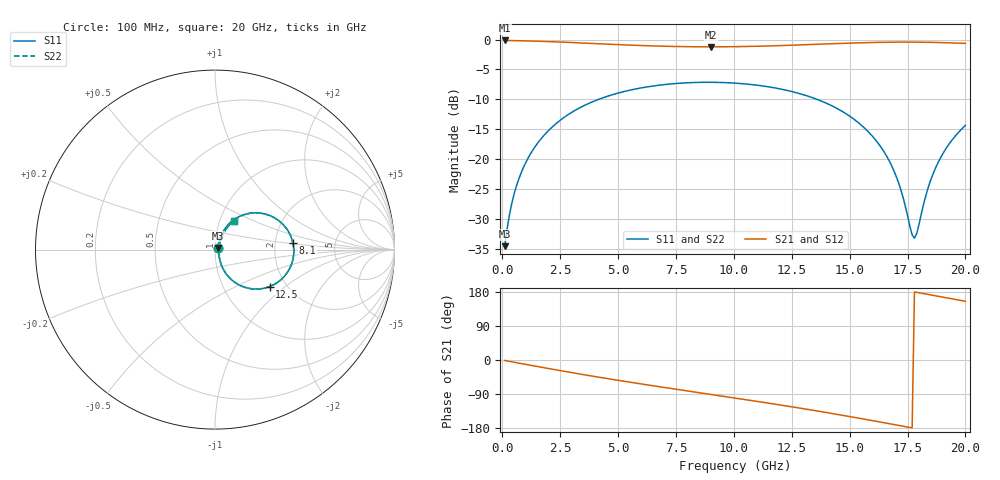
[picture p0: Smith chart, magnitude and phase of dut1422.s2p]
! Touchstone file exported from HFSS 2026.1.0
!  File:  C:/ffzhzh/LocalFiles/Ansys_Project_Files/temp_train_TSV_RDL_1422_1783354696_48288.aedt
!  Generated:  12:28:03 AM Jul  7, 2026
!  Design:  TSV_RDL
!  Project:  temp_train_TSV_RDL_1422_1783354696_48288
! Variables:
!  h_bsmrdl = 5.44um
!  h_ox = 20um
!  h_rdl = 5um
!  h_sub = 96.82um
!  h_tmrdl = 2.33um
!  h_tsv = 96.82um
!  h_via = 3um
!  l_bsmrdl = 618.58um
!  l_sub = 3010.04um
!  l_tmrdl = 161.02um
!  m_sub = 200um
!  pitch = 40um
!  r_tsv = 11.44um
!  s_tmrdl = 10um
!  w_bsmrdl = 11.54um
!  w_sub = 500um
!  w_tmrdl = 25.2um
!  x_tsv_center1 = 173.62um
!  x_tsv_center2 = 803.74um
!  x_tsv_center3 = 989.96um
!  x_tsv_center4 = 1620.08um
!  x_tsv_center5 = 1806.3um
!  x_tsv_center6 = 2436.42um
# GHz S MA R 50.000000
! Terminal data exported
! Port[1] = TM_RDL1_1_T1
! Port[2] = TM_RDL5_1_T1
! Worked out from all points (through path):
!   200 points, 100 MHz to 20 GHz, reference 50 ohm
!   highest |S21| = -0.14 dB at 100 MHz (marker M1); lowest = -1.2 dB at 9 GHz (marker M2)
!   group delay of S21, straight-line fit = 27.6 ps
!   lowest |S11| = -34.6 dB at 100 MHz (marker M3), VSWR 1.04, Z = 51.6 + j0.976 ohm
!   |S11| at or under -10 dB: start of sweep to 4.164 GHz; 13.59 GHz to end of sweep
!   |S22| runs from -34.6 to -7.1 dB; largest |S21 - S12| = 4.7e-14
!   S11 on the Smith chart (normalised r, x): 100 MHz: 1.03, +0.02; 8.1 GHz: 2.52, +0.22; 12.5 GHz: 1.64, -0.78; 20 GHz: 1.16, +0.39
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0.1  0.01861 30.5  0.9841 -1.2  0.9841 -1.2  0.01861 30.5
! Gamma 0 0 0 0
! Port Impedance 50 0 50 0
0.3  0.03329 56.1  0.9828 -3.5  0.9828 -3.5  0.03329 56.1
0.5  0.05007 63.2  0.981 -5.8  0.981 -5.8  0.05007 63.2
1.2  0.1089 65.7  0.974 -13.7  0.974 -13.7  0.1089 65.7
2.2  0.1887 58.6  0.96 -24.8  0.96 -24.8  0.1887 58.6
3.5  0.2782 46.5  0.9362 -38.6  0.9362 -38.6  0.2782 46.5
5.1  0.3609 31.5  0.9062 -54.6  0.9062 -54.6  0.3609 31.5
6.8  0.4158 16.1  0.8821 -70.7  0.8821 -70.7  0.4157 16.1
8.1  0.4359 4.7  0.8721 -82.6  0.8721 -82.6  0.4359 4.7
9  0.4392 -3.1  0.8701 -90.8  0.8701 -90.8  0.4392 -3.1
10.1  0.4314 -12.7  0.8732 -100.8  0.8732 -100.8  0.4314 -12.7
12.5  0.3676 -34.1  0.8977 -123.5  0.8977 -123.5  0.3676 -34.1
13.4  0.3261 -42.3  0.9111 -132.5  0.9111 -132.5  0.3261 -42.3
15.4  0.1999 -60.3  0.9399 -153.5  0.9399 -153.5  0.1999 -60.3
16.7  0.0973 -67.7  0.9513 -167.9  0.9513 -167.9  0.09732 -67.6
17.2  0.05624 -63.4  0.953 -173.5  0.953 -173.5  0.05629 -63.1
17.7  0.02313 -21.8  0.9529 -179.2  0.9529 -179.2  0.02331 -21.5
17.8  0.02172 -0.5  0.9526 179.7  0.9526 179.7  0.02193 -0.4
18.4  0.05813 58.8  0.9496 172.8  0.9496 172.8  0.05824 58.6
18.7  0.08318 62.3  0.9471 169.4  0.9471 169.4  0.08326 62.1
19.3  0.1339 61.5  0.9403 162.7  0.9403 162.7  0.1339 61.4
20  0.1912 56.8  0.9297 154.9  0.9297 154.9  0.1913 56.7
